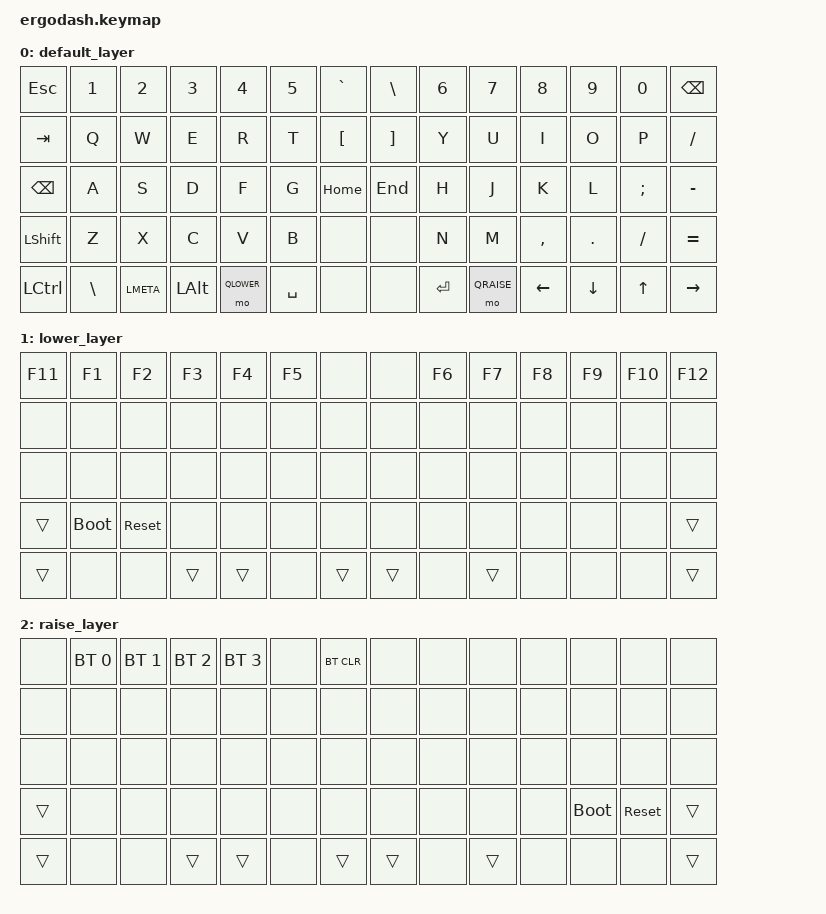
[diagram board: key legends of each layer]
/*
 * Copyright (c) 2020 The ZMK Contributors
 *
 * SPDX-License-Identifier: MIT
 */

#include <behaviors.dtsi>
#include <dt-bindings/zmk/keys.h>
#include <dt-bindings/zmk/bt.h>

#define DVORAK 0
#define DLOWER 1
#define DRAISE 2
#define QWERTY 3
#define QLOWER 4
#define QRAISE 5



/ {
        keymap {
                compatible = "zmk,keymap";

                default_layer {
  /* Qwerty
   * ,------------------------------------------------.                    .------------------------------------------------.
   * | ESC  |   1  |   2  |   3  |   4  |   5  |   `  |                    |   \  |   6  |   7  |   8  |   9  |   0  | Bksp |
   * |------+------+------+------+------+------+------|                    |------+------+------+------+------+------+------|
   * | Tab  |   Q  |   W  |   E  |   R  |   T  |   [  |                    |   ]  |   Y  |   U  |   I  |   O  |   P  |  /   |
   * |------+------+------+------+------+------+------|                    |------+------+------+------+------+------+------|
   * | Bksp |   A  |   S  |   D  |   F  |   G  | Home |                    | End  |   H  |   J  |   K  |   L  |   ;  |  -   |
   * |------+------+------+------+------+------+------|                    |------+------+------+------+------+------+------|
   * | Shift|   Z  |   X  |   C  |   V  |   B  |      |                    |      |   N  |   M  |   ,  |   .  |   /  |  =   |
   * |-------------+------+------+------+------+ Space|                    |-Enter+------+------+------+------+-------------|
   * | Ctrl |  \   |  Win | Alt  |||||||| Lower|      |                    |      | Raise|||||||| Left | Down |  Up  | Right|
   * ,------------------------------------------------.                    .------------------------------------------------.
   */
                        bindings = <
&kp  ESC      &kp  N1       &kp  N2       &kp  N3       &kp  N4       &kp  N5       &kp  GRAVE             &kp  BSLH     &kp  N6       &kp  N7       &kp  N8       &kp  N9       &kp  N0       &kp  BSPC
&kp  TAB      &kp  Q        &kp  W        &kp  E        &kp  R        &kp  T        &kp  LBKT              &kp  RBKT     &kp  Y        &kp  U        &kp  I        &kp  O        &kp  P        &kp  SLASH
&kp  BSPC     &kp  A        &kp  S        &kp  D        &kp  F        &kp  G        &kp  HOME              &kp  END      &kp  H        &kp  J        &kp  K        &kp  L        &kp  SEMI     &kp  MINUS
&kp  LSHFT    &kp  Z        &kp  X        &kp  C        &kp  V        &kp  B        &none                  &none         &kp  N        &kp  M        &kp  COMMA    &kp  DOT      &kp  SLASH    &kp  EQUAL
&kp  LCTRL    &kp  BSLH     &kp  LMETA    &kp  LALT     &mo  QLOWER   &kp  SPACE    &none                  &none         &kp RET       &mo  QRAISE   &kp  LEFT     &kp  DOWN     &kp  UP       &kp  RIGHT
                        >;
                };
                lower_layer {
/* .----------------------------------------------------------------------------------------------------------------------.
 * |  F11 |  F1  |  F2  |  F3  |  F4  |  F5  |      |                    |      |  F6  |  F7  |  F8  |  F9  |  F10 |  F12 |
 * |------+------+------+------+------+------+------+--------------------+------+------+------+------+------+------+------|
 * |      |      |      |      |      |      |      |                    |      |      |      |      |      |      |      |
 * |------+------+------+------+------+------+------+--------------------+------+------+------+------+------+------+------|
 * |      |      |      |      |      |      |      |                    |      |      |      |      |      |      |      |
 * |------+------+------+------+------+------+---------------------------+------+------+------+------+------+------+------|
 * | Shift| Boot | Reset|      |      |      |      |                    |      |      |      |      |      |      | Shift|
 * |-------------+------+------+------+------+------+------+------+------+------+------+------+------+------+-------------|
 * | Ctlr |      |      |  Win |||||||| Alt  |      | Lower|||||||| Raise|      | RAlt ||||||||      |      |      | RCtrl|
 * .----------------------------------------------------------------------------------------------------------------------.
 */ /* FIXME boot and reset are not yet locale aware */
                        bindings = <
&kp  F11      &kp  F1       &kp  F2       &kp  F3       &kp  F4       &kp  F5       &none                  &none         &kp  F6       &kp  F7       &kp  F8       &kp  F9       &kp  F10      &kp  F12
&none         &none         &none         &none         &none         &none         &none                  &none         &none         &none         &none         &none         &none         &none
&none         &none         &none         &none         &none         &none         &none                  &none         &none         &none         &none         &none         &none         &none
&trans        &bootloader   &sys_reset        &none         &none         &none         &none                  &none         &none         &none         &none         &none         &none         &trans
&trans        &none         &none         &trans        &trans        &none         &trans                 &trans        &none         &trans        &none         &none         &none         &trans
                        >;
                };
                raise_layer {
/* .----------------------------------------------------------------------------------------------------------------------.
 * |      | BT 0 | BT 1 | BT 2 | BT 3 |      | BTCL |                    |      |      |      |      |      |      |      |
 * |------+------+------+------+------+------+------+--------------------+------+------+------+------+------+------+------|
 * |      |      |      |      |      |      |      |                    |      |      |      |      |      |      |      |
 * |------+------+------+------+------+------+------+--------------------+------+------+------+------+------+------+------|
 * |      |      |      |      |      |      |      |                    |      |      |      |      |      |      |      |
 * |------+------+------+------+------+------+---------------------------+------+------+------+------+------+------+------|
 * | Shift|      |      |      |      |      |      |                    |      |      |      |      | Boot | Reset| Shift|
 * |-------------+------+------+------+------+------+------+------+------+------+------+------+------+------+-------------|
 * | Ctlr |      |      |  Win |||||||| Alt  |      | Lower|||||||| Raise|      | RAlt ||||||||      |      |      | RCtrl|
 * .----------------------------------------------------------------------------------------------------------------------.
 */ /* FIXME boot and reset are not yet locale aware */
                        bindings = <
&none         &bt BT_SEL 0  &bt BT_SEL 1  &bt BT_SEL 2  &bt BT_SEL 3  &none         &bt BT_CLR             &none         &none         &none         &none         &none         &none         &none
&none         &none         &none         &none         &none         &none         &none                  &none         &none         &none         &none         &none         &none         &none
&none         &none         &none         &none         &none         &none         &none                  &none         &none         &none         &none         &none         &none         &none
&trans        &none         &none         &none         &none         &none         &none                  &none         &none         &none         &none         &bootloader   &sys_reset        &trans
&trans        &none         &none         &trans        &trans        &none         &trans                 &trans        &none         &trans        &none         &none         &none         &trans
                        >;
                };
        };
};

